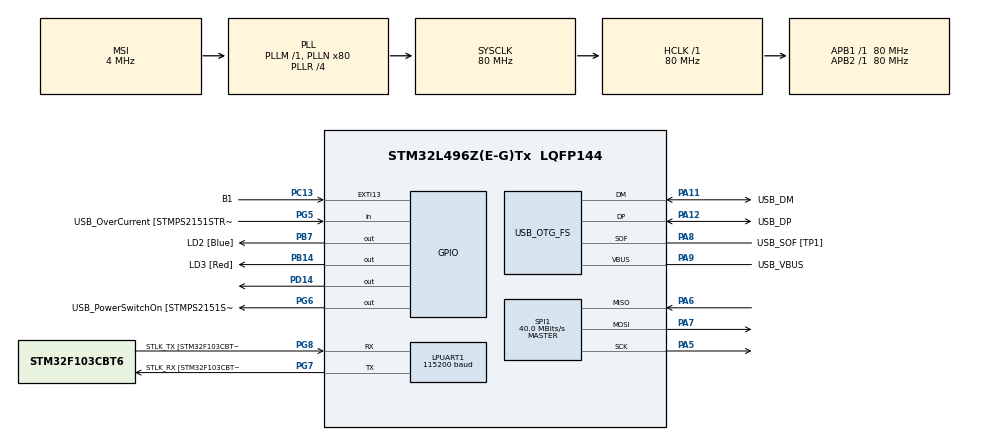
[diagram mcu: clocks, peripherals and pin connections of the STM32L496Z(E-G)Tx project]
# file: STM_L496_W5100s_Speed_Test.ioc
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LPUART1.BaudRate=115200
LPUART1.WordLength=UART_WORDLENGTH_8B
Mcu.Family=STM32L4
Mcu.Name=STM32L496Z(E-G)Tx
Mcu.Package=LQFP144
NVIC.LPUART1_IRQn=true\:0\:0\:false\:false\:true\:true\:true\:true
NVIC.PriorityGroup=NVIC_PRIORITYGROUP_4
PA10.GPIO_Label=USB_ID
PA10.Signal=USB_OTG_FS_ID
PA11.GPIO_Label=USB_DM
PA11.Mode=Device_Only
PA11.Signal=USB_OTG_FS_DM
PA12.GPIO_Label=USB_DP
PA12.Mode=Device_Only
PA12.Signal=USB_OTG_FS_DP
PA13\ (JTMS/SWDIO).GPIO_Label=TMS
PA13\ (JTMS/SWDIO).Mode=Trace_Asynchronous_SW
PA13\ (JTMS/SWDIO).Signal=SYS_JTMS-SWDIO
PA14\ (JTCK/SWCLK).GPIO_Label=TCK
PA14\ (JTCK/SWCLK).Mode=Trace_Asynchronous_SW
PA14\ (JTCK/SWCLK).Signal=SYS_JTCK-SWCLK
PA5.Mode=Full_Duplex_Master
PA5.Signal=SPI1_SCK
PA6.Mode=Full_Duplex_Master
PA6.Signal=SPI1_MISO
PA7.Mode=Full_Duplex_Master
PA7.Signal=SPI1_MOSI
PA8.GPIO_Label=USB_SOF [TP1]
PA8.Mode=Activate_SOF_FS
PA8.Signal=USB_OTG_FS_SOF
PA9.GPIO_Label=USB_VBUS
PA9.Mode=Activate_VBUS
PA9.Signal=USB_OTG_FS_VBUS
PB14.GPIO_Label=LD3 [Red]
PB14.Signal=GPIO_Output
PB3\ (JTDO/TRACESWO).GPIO_Label=SWO
PB3\ (JTDO/TRACESWO).Mode=Trace_Asynchronous_SW
PB3\ (JTDO/TRACESWO).Signal=SYS_JTDO-SWO
PB7.GPIO_Label=LD2 [Blue]
PB7.Signal=GPIO_Output
PC13.GPIO_Label=B1
PC13.Signal=GPXTI13
PC14-OSC32_IN\ (PC14).Mode=LSE-External-Oscillator
PC14-OSC32_IN\ (PC14).Signal=RCC_OSC32_IN
PC15-OSC32_OUT\ (PC15).Mode=LSE-External-Oscillator
PC15-OSC32_OUT\ (PC15).Signal=RCC_OSC32_OUT
PD14.Signal=GPIO_Output
PG5.GPIO_Label=USB_OverCurrent [STMPS2151STR_FAULT]
PG5.Signal=GPIO_Input
PG6.GPIO_Label=USB_PowerSwitchOn [STMPS2151STR_EN]
PG6.Signal=GPIO_Output
PG7.GPIO_Label=STLK_RX [STM32F103CBT6_PA3]
PG7.Mode=Asynchronous
PG7.Signal=LPUART1_TX
PG8.GPIO_Label=STLK_TX [STM32F103CBT6_PA2]
PG8.Mode=Asynchronous
PG8.Signal=LPUART1_RX
PH1-OSC_OUT\ (PH1).Signal=RCC_OSC_OUT
ProjectManager.HeapSize=0x200
ProjectManager.StackSize=0x400
ProjectManager.TargetToolchain=STM32CubeIDE
RCC.48MHZClocksFreq_Value=24000000
RCC.ADCFreq_Value=96000000
RCC.AHBFreq_Value=80000000
RCC.APB1Freq_Value=80000000
RCC.APB1TimFreq_Value=80000000
RCC.APB2Freq_Value=80000000
RCC.APB2TimFreq_Value=80000000
RCC.CortexFreq_Value=80000000
RCC.HCLKFreq_Value=80000000
RCC.HSE_VALUE=8000000
RCC.HSI48_VALUE=48000000
RCC.HSI_VALUE=16000000
RCC.MSI_VALUE=4000000
RCC.PLLMUL=RCC_PLL_MUL9
RCC.PLLN=80
RCC.PLLR=RCC_PLLR_DIV4
RCC.PLLSAI1N=48
RCC.PLLSAI1Q=RCC_PLLQ_DIV4
RCC.PRESCALERUSB=RCC_USBCLKSOURCE_PLL_DIV1_5
RCC.SYSCLKFreq_VALUE=80000000
RCC.SYSCLKSource=RCC_SYSCLKSOURCE_PLLCLK
RCC.SYSCLKSourceVirtual=RCC_SYSCLKSOURCE_PLLCLK
RCC.USBFreq_Value=48000000
RCC.VCOOutputFreq_Value=320000000
SPI1.BaudRatePrescaler=SPI_BAUDRATEPRESCALER_2
SPI1.CalculateBaudRate=40.0 MBits/s
SPI1.DataSize=SPI_DATASIZE_8BIT
SPI1.Direction=SPI_DIRECTION_2LINES
SPI1.Mode=SPI_MODE_MASTER
SPI1.VirtualType=VM_MASTER
USB_OTG_FS.VirtualMode=Device_Only
board=NUCLEO-L496ZG

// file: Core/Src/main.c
/* USER CODE BEGIN Header */
/**
  ******************************************************************************
  * @file           : main.c
  * @brief          : Main program body
  ******************************************************************************
  * @attention
  *
  * Copyright (c) 2023 STMicroelectronics.
  * All rights reserved.
  *
  * This software is licensed under terms that can be found in the LICENSE file
  * in the root directory of this software component.
  * If no LICENSE file comes with this software, it is provided AS-IS.
  *
  ******************************************************************************
  */
/* USER CODE END Header */
#include "main.h"

/* USER CODE BEGIN Includes */
#include "loopback.h"
#include "wizchip_conf.h"
#define ETH_MAX_BUF_SIZE 2048

/* USER CODE END Includes */

UART_HandleTypeDef hlpuart1;

SPI_HandleTypeDef hspi1;

PCD_HandleTypeDef hpcd_USB_OTG_FS;

/* USER CODE BEGIN PV */
wiz_NetInfo defaultNetInfo = { .mac = {0x00,0x08,0xdc,0xff,0xee,0xdd},
							.ip = {192,168,15,111},
							.sn = {255,255,255,0},
							.gw = {192,168,15,1},
							.dns = {168, 126, 63, 1},
							.dhcp = NETINFO_STATIC};

unsigned char gServer_IP[4] = {192,168,15,4};
unsigned char ethBuf0[ETH_MAX_BUF_SIZE];
/* USER CODE END PV */

void SystemClock_Config(void);
static void MX_GPIO_Init(void);
static void MX_LPUART1_UART_Init(void);
static void MX_USB_OTG_FS_PCD_Init(void);
static void MX_SPI1_Init(void);
/* USER CODE BEGIN PFP */
uint8_t rxData[2];

int _write(int fd, char *str, int len)
{
	for(int i=0; i<len; i++)
	{
		HAL_UART_Transmit(&hlpuart1, (uint8_t *)&str[i], 1, 0xFFFF);
	}
	return len;
}

void HAL_UART_RxCpltCallback(UART_HandleTypeDef *huart) {

    /*
        This will be called once data is received successfully,
        via interrupts.
    */

     /*
       loop back received data
     */
     HAL_UART_Receive_IT(&hlpuart1, rxData, 1);
     HAL_UART_Transmit(&hlpuart1, rxData, 1, 1000);
}

void csEnable(void)
{
	HAL_GPIO_WritePin(GPIOD, GPIO_PIN_14, GPIO_PIN_RESET);
}

void csDisable(void)
{
	HAL_GPIO_WritePin(GPIOD, GPIO_PIN_14, GPIO_PIN_SET);
}

void spiWriteByte(uint8_t tx)
{
	uint8_t rx;
	HAL_SPI_TransmitReceive(&hspi1, &tx, &rx, 1, 10);
}

uint8_t spiReadByte(void)
{
	uint8_t rx = 0, tx = 0xFF;
	HAL_SPI_TransmitReceive(&hspi1, &tx, &rx, 1, 10);
	return rx;
}
void print_network_information()
{
	wiz_NetInfo gWIZNETINFO;
	wizchip_getnetinfo(&gWIZNETINFO);

	printf("Mac address: %02x:%02x:%02x:%02x:%02x:%02x\n\r",gWIZNETINFO.mac[0],gWIZNETINFO.mac[1],gWIZNETINFO.mac[2],gWIZNETINFO.mac[3],gWIZNETINFO.mac[4],gWIZNETINFO.mac[5]);
	printf("IP address : %d.%d.%d.%d\n\r",gWIZNETINFO.ip[0],gWIZNETINFO.ip[1],gWIZNETINFO.ip[2],gWIZNETINFO.ip[3]);
	printf("SM Mask	   : %d.%d.%d.%d\n\r",gWIZNETINFO.sn[0],gWIZNETINFO.sn[1],gWIZNETINFO.sn[2],gWIZNETINFO.sn[3]);
	printf("Gate way   : %d.%d.%d.%d\n\r",gWIZNETINFO.gw[0],gWIZNETINFO.gw[1],gWIZNETINFO.gw[2],gWIZNETINFO.gw[3]);
	printf("DNS Server : %d.%d.%d.%d\n\r",gWIZNETINFO.dns[0],gWIZNETINFO.dns[1],gWIZNETINFO.dns[2],gWIZNETINFO.dns[3]);
}

void Display_Net_Conf()
{
	uint8_t tmpstr[6] = {0,};
	wiz_NetInfo gWIZNETINFO;

	ctlnetwork(CN_GET_NETINFO, (void*) &gWIZNETINFO);
	ctlwizchip(CW_GET_ID,(void*)tmpstr);

	// Display Network Information
	if(gWIZNETINFO.dhcp == NETINFO_DHCP) printf("\r\n===== %s NET CONF : DHCP =====\r\n",(char*)tmpstr);
		else printf("\r\n===== %s NET CONF : Static =====\r\n",(char*)tmpstr);

	printf("\r\nMAC: %02X:%02X:%02X:%02X:%02X:%02X\r\n", gWIZNETINFO.mac[0], gWIZNETINFO.mac[1], gWIZNETINFO.mac[2], gWIZNETINFO.mac[3], gWIZNETINFO.mac[4], gWIZNETINFO.mac[5]);
	printf("IP: %d.%d.%d.%d\r\n", gWIZNETINFO.ip[0], gWIZNETINFO.ip[1], gWIZNETINFO.ip[2], gWIZNETINFO.ip[3]);
	printf("GW: %d.%d.%d.%d\r\n", gWIZNETINFO.gw[0], gWIZNETINFO.gw[1], gWIZNETINFO.gw[2], gWIZNETINFO.gw[3]);
	printf("SN: %d.%d.%d.%d\r\n", gWIZNETINFO.sn[0], gWIZNETINFO.sn[1], gWIZNETINFO.sn[2], gWIZNETINFO.sn[3]);
	printf("DNS: %d.%d.%d.%d\r\n", gWIZNETINFO.dns[0], gWIZNETINFO.dns[1], gWIZNETINFO.dns[2], gWIZNETINFO.dns[3]);
}
void W5100S_Initialze(void)
{
	intr_kind temp;
	unsigned char W5100S_AdrSet[2][4] = {{2,2,2,2},{2,2,2,2}};
	csDisable();
	/*
	 */
	reg_wizchip_cs_cbfunc(csEnable, csDisable);
	reg_wizchip_spi_cbfunc(spiReadByte,spiWriteByte);
	temp = IK_DEST_UNREACH;

	if(ctlwizchip(CW_INIT_WIZCHIP,(void*)W5100S_AdrSet) == -1)
	{
		printf("W5100S initialized fail.\r\n");
	}

	if(ctlwizchip(CW_SET_INTRMASK,&temp) == -1)
	{
		printf("W5100S interrupt\r\n");
	}

	do{//check phy status.
		if(ctlwizchip(CW_GET_PHYLINK,(void*)&temp) == -1){
			printf("Unknown PHY link status.\r\n");
		}
	}while(temp == PHY_LINK_OFF);

	/*uint8_t tmp;
	uint8_t memsize[2][8] = { {2,2,2,2,2,2,2,2},{2,2,2,2,2,2,2,2}};
	if(ctlwizchip(CW_INIT_WIZCHIP,(void*)memsize) == -1)
	{
		//myprintf("WIZCHIP Initialized fail.\r\n");
		HAL_UART_Transmit(&huart2, (uint8_t *)"WIZCHIP Initialized fail.\r\n", 1, 10);
	  return;
	}*/

	/* PHY link status check */
	/*do {
		if(ctlwizchip(CW_GET_PHYLINK, (void*)&tmp) == -1)
		{
		  HAL_UART_Transmit(&huart2, (uint8_t *)"Unknown PHY Link status.\r\n", 1, 10);
		  return;
		}
	} while (tmp == PHY_LINK_OFF);
	*/
}
/* USER CODE END PFP */

int main(void)
{

  /* MCU Configuration--------------------------------------------------------*/

  /* Reset of all peripherals, Initializes the Flash interface and the Systick. */
  HAL_Init();

  /* Configure the system clock */
  SystemClock_Config();

  /* Initialize all configured peripherals */
  MX_GPIO_Init();
  MX_LPUART1_UART_Init();
  MX_USB_OTG_FS_PCD_Init();
  MX_SPI1_Init();
  /* USER CODE BEGIN 2 */
  printf("W5100S test \r\n");
  HAL_UART_Receive_IT(&hlpuart1, rxData, 1);

  W5100S_Initialze();
  wizchip_setnetinfo(&defaultNetInfo);
  //Display_Net_Conf();
  print_network_information();
  /* USER CODE END 2 */

  /* Infinite loop */
  /* USER CODE BEGIN WHILE */
  while (1)
  {
	  loopback_tcps(0,ethBuf0,5000);
    /* USER CODE END WHILE */

  }
}

void SystemClock_Config(void)
{
  RCC_OscInitTypeDef RCC_OscInitStruct = {0};
  RCC_ClkInitTypeDef RCC_ClkInitStruct = {0};

  /** Configure the main internal regulator output voltage
  */
  if (HAL_PWREx_ControlVoltageScaling(PWR_REGULATOR_VOLTAGE_SCALE1) != HAL_OK)
  {
    Error_Handler();
  }

  /** Configure LSE Drive Capability
  */
  HAL_PWR_EnableBkUpAccess();
  __HAL_RCC_LSEDRIVE_CONFIG(RCC_LSEDRIVE_LOW);

  /** Initializes the RCC Oscillators according to the specified parameters
  * in the RCC_OscInitTypeDef structure.
  */
  RCC_OscInitStruct.OscillatorType = RCC_OSCILLATORTYPE_LSE|RCC_OSCILLATORTYPE_MSI;
  RCC_OscInitStruct.LSEState = RCC_LSE_ON;
  RCC_OscInitStruct.MSIState = RCC_MSI_ON;
  RCC_OscInitStruct.MSICalibrationValue = 0;
  RCC_OscInitStruct.MSIClockRange = RCC_MSIRANGE_6;
  RCC_OscInitStruct.PLL.PLLState = RCC_PLL_ON;
  RCC_OscInitStruct.PLL.PLLSource = RCC_PLLSOURCE_MSI;
  RCC_OscInitStruct.PLL.PLLM = 1;
  RCC_OscInitStruct.PLL.PLLN = 80;
  RCC_OscInitStruct.PLL.PLLP = RCC_PLLP_DIV2;
  RCC_OscInitStruct.PLL.PLLQ = RCC_PLLQ_DIV2;
  RCC_OscInitStruct.PLL.PLLR = RCC_PLLR_DIV4;
  if (HAL_RCC_OscConfig(&RCC_OscInitStruct) != HAL_OK)
  {
    Error_Handler();
  }

  /** Initializes the CPU, AHB and APB buses clocks
  */
  RCC_ClkInitStruct.ClockType = RCC_CLOCKTYPE_HCLK|RCC_CLOCKTYPE_SYSCLK
                              |RCC_CLOCKTYPE_PCLK1|RCC_CLOCKTYPE_PCLK2;
  RCC_ClkInitStruct.SYSCLKSource = RCC_SYSCLKSOURCE_PLLCLK;
  RCC_ClkInitStruct.AHBCLKDivider = RCC_SYSCLK_DIV1;
  RCC_ClkInitStruct.APB1CLKDivider = RCC_HCLK_DIV1;
  RCC_ClkInitStruct.APB2CLKDivider = RCC_HCLK_DIV1;

  if (HAL_RCC_ClockConfig(&RCC_ClkInitStruct, FLASH_LATENCY_4) != HAL_OK)
  {
    Error_Handler();
  }

  /** Enable MSI Auto calibration
  */
  HAL_RCCEx_EnableMSIPLLMode();
}

static void MX_LPUART1_UART_Init(void)
{

  hlpuart1.Instance = LPUART1;
  hlpuart1.Init.BaudRate = 115200;
  hlpuart1.Init.WordLength = UART_WORDLENGTH_8B;
  hlpuart1.Init.StopBits = UART_STOPBITS_1;
  hlpuart1.Init.Parity = UART_PARITY_NONE;
  hlpuart1.Init.Mode = UART_MODE_TX_RX;
  hlpuart1.Init.HwFlowCtl = UART_HWCONTROL_NONE;
  hlpuart1.Init.OneBitSampling = UART_ONE_BIT_SAMPLE_DISABLE;
  hlpuart1.AdvancedInit.AdvFeatureInit = UART_ADVFEATURE_NO_INIT;
  if (HAL_UART_Init(&hlpuart1) != HAL_OK)
  {
    Error_Handler();
  }

}

static void MX_SPI1_Init(void)
{

  /* SPI1 parameter configuration*/
  hspi1.Instance = SPI1;
  hspi1.Init.Mode = SPI_MODE_MASTER;
  hspi1.Init.Direction = SPI_DIRECTION_2LINES;
  hspi1.Init.DataSize = SPI_DATASIZE_8BIT;
  hspi1.Init.CLKPolarity = SPI_POLARITY_LOW;
  hspi1.Init.CLKPhase = SPI_PHASE_1EDGE;
  hspi1.Init.NSS = SPI_NSS_SOFT;
  hspi1.Init.BaudRatePrescaler = SPI_BAUDRATEPRESCALER_2;
  hspi1.Init.FirstBit = SPI_FIRSTBIT_MSB;
  hspi1.Init.TIMode = SPI_TIMODE_DISABLE;
  hspi1.Init.CRCCalculation = SPI_CRCCALCULATION_DISABLE;
  hspi1.Init.CRCPolynomial = 7;
  hspi1.Init.CRCLength = SPI_CRC_LENGTH_DATASIZE;
  hspi1.Init.NSSPMode = SPI_NSS_PULSE_ENABLE;
  if (HAL_SPI_Init(&hspi1) != HAL_OK)
  {
    Error_Handler();
  }

}

static void MX_USB_OTG_FS_PCD_Init(void)
{

  hpcd_USB_OTG_FS.Instance = USB_OTG_FS;
  hpcd_USB_OTG_FS.Init.dev_endpoints = 6;
  hpcd_USB_OTG_FS.Init.speed = PCD_SPEED_FULL;
  hpcd_USB_OTG_FS.Init.phy_itface = PCD_PHY_EMBEDDED;
  hpcd_USB_OTG_FS.Init.Sof_enable = ENABLE;
  hpcd_USB_OTG_FS.Init.low_power_enable = DISABLE;
  hpcd_USB_OTG_FS.Init.lpm_enable = DISABLE;
  hpcd_USB_OTG_FS.Init.battery_charging_enable = ENABLE;
  hpcd_USB_OTG_FS.Init.use_dedicated_ep1 = DISABLE;
  hpcd_USB_OTG_FS.Init.vbus_sensing_enable = ENABLE;
  if (HAL_PCD_Init(&hpcd_USB_OTG_FS) != HAL_OK)
  {
    Error_Handler();
  }

}

static void MX_GPIO_Init(void)
{
  GPIO_InitTypeDef GPIO_InitStruct = {0};

  /* GPIO Ports Clock Enable */
  __HAL_RCC_GPIOC_CLK_ENABLE();
  __HAL_RCC_GPIOH_CLK_ENABLE();
  __HAL_RCC_GPIOA_CLK_ENABLE();
  __HAL_RCC_GPIOB_CLK_ENABLE();
  __HAL_RCC_GPIOD_CLK_ENABLE();
  __HAL_RCC_GPIOG_CLK_ENABLE();
  HAL_PWREx_EnableVddIO2();

  /*Configure GPIO pin Output Level */
  HAL_GPIO_WritePin(GPIOB, LD3_Pin|LD2_Pin, GPIO_PIN_RESET);

  /*Configure GPIO pin Output Level */
  HAL_GPIO_WritePin(GPIOD, GPIO_PIN_14, GPIO_PIN_RESET);

  /*Configure GPIO pin Output Level */
  HAL_GPIO_WritePin(USB_PowerSwitchOn_GPIO_Port, USB_PowerSwitchOn_Pin, GPIO_PIN_RESET);

  /*Configure GPIO pin : B1_Pin */
  GPIO_InitStruct.Pin = B1_Pin;
  GPIO_InitStruct.Mode = GPIO_MODE_IT_RISING;
  GPIO_InitStruct.Pull = GPIO_NOPULL;
  HAL_GPIO_Init(B1_GPIO_Port, &GPIO_InitStruct);

  /*Configure GPIO pins : LD3_Pin LD2_Pin */
  GPIO_InitStruct.Pin = LD3_Pin|LD2_Pin;
  GPIO_InitStruct.Mode = GPIO_MODE_OUTPUT_PP;
  GPIO_InitStruct.Pull = GPIO_NOPULL;
  GPIO_InitStruct.Speed = GPIO_SPEED_FREQ_LOW;
  HAL_GPIO_Init(GPIOB, &GPIO_InitStruct);

  /*Configure GPIO pin : PD14 */
  GPIO_InitStruct.Pin = GPIO_PIN_14;
  GPIO_InitStruct.Mode = GPIO_MODE_OUTPUT_PP;
  GPIO_InitStruct.Pull = GPIO_NOPULL;
  GPIO_InitStruct.Speed = GPIO_SPEED_FREQ_LOW;
  HAL_GPIO_Init(GPIOD, &GPIO_InitStruct);

  /*Configure GPIO pin : USB_OverCurrent_Pin */
  GPIO_InitStruct.Pin = USB_OverCurrent_Pin;
  GPIO_InitStruct.Mode = GPIO_MODE_INPUT;
  GPIO_InitStruct.Pull = GPIO_NOPULL;
  HAL_GPIO_Init(USB_OverCurrent_GPIO_Port, &GPIO_InitStruct);

  /*Configure GPIO pin : USB_PowerSwitchOn_Pin */
  GPIO_InitStruct.Pin = USB_PowerSwitchOn_Pin;
  GPIO_InitStruct.Mode = GPIO_MODE_OUTPUT_PP;
  GPIO_InitStruct.Pull = GPIO_NOPULL;
  GPIO_InitStruct.Speed = GPIO_SPEED_FREQ_LOW;
  HAL_GPIO_Init(USB_PowerSwitchOn_GPIO_Port, &GPIO_InitStruct);

}

void Error_Handler(void)
{
  __disable_irq();
  while (1)
  {
  }
}
